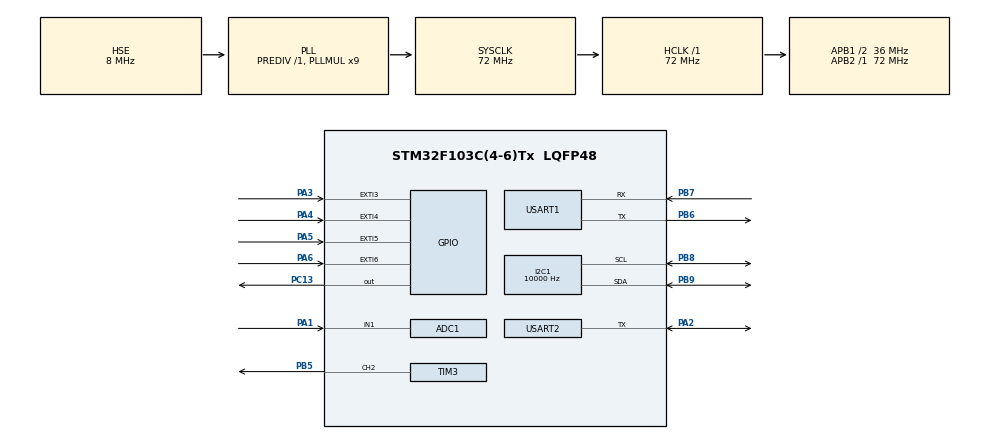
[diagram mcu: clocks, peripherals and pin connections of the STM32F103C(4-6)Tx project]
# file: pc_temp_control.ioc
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ADC1.Channel-8\#ChannelRegularConversion=ADC_CHANNEL_1
ADC1.NbrOfConversionFlag=1
ADC1.Rank-8\#ChannelRegularConversion=1
ADC1.SamplingTime-8\#ChannelRegularConversion=ADC_SAMPLETIME_1CYCLE_5
ADC1.master=1
I2C1.ClockSpeed=10000
Mcu.Family=STM32F1
Mcu.Name=STM32F103C(4-6)Tx
Mcu.Package=LQFP48
NVIC.EXTI3_IRQn=true\:0\:0\:false\:false\:true\:true\:true\:true
NVIC.EXTI4_IRQn=true\:0\:0\:false\:false\:true\:true\:true\:true
NVIC.EXTI9_5_IRQn=true\:0\:0\:false\:false\:true\:true\:true\:true
NVIC.PriorityGroup=NVIC_PRIORITYGROUP_4
NVIC.TIM2_IRQn=true\:0\:0\:false\:false\:true\:true\:true\:true
NVIC.USART2_IRQn=true\:0\:0\:false\:false\:true\:true\:true\:true
PA1.Signal=ADCx_IN1
PA13.Mode=Serial_Wire
PA13.Signal=SYS_JTMS-SWDIO
PA14.Mode=Serial_Wire
PA14.Signal=SYS_JTCK-SWCLK
PA2.Mode=Half_duplex(single_wire_mode)
PA2.Signal=USART2_TX
PA3.GPIO_ModeDefaultEXTI=GPIO_MODE_IT_FALLING
PA3.GPIO_PuPd=GPIO_PULLUP
PA3.Signal=GPXTI3
PA4.GPIO_ModeDefaultEXTI=GPIO_MODE_IT_FALLING
PA4.GPIO_PuPd=GPIO_PULLUP
PA4.Signal=GPXTI4
PA5.GPIO_ModeDefaultEXTI=GPIO_MODE_IT_FALLING
PA5.GPIO_PuPd=GPIO_PULLUP
PA5.Signal=GPXTI5
PA6.GPIO_ModeDefaultEXTI=GPIO_MODE_IT_FALLING
PA6.GPIO_PuPd=GPIO_PULLUP
PA6.Signal=GPXTI6
PB5.Signal=S_TIM3_CH2
PB6.Mode=Asynchronous
PB6.Signal=USART1_TX
PB7.Mode=Asynchronous
PB7.Signal=USART1_RX
PB8.Mode=I2C
PB8.Signal=I2C1_SCL
PB9.Mode=I2C
PB9.Signal=I2C1_SDA
PC13-TAMPER-RTC.GPIO_ModeDefaultOutputPP=GPIO_MODE_OUTPUT_OD
PC13-TAMPER-RTC.GPIO_PuPd=GPIO_NOPULL
PC13-TAMPER-RTC.PinState=GPIO_PIN_SET
PC13-TAMPER-RTC.Signal=GPIO_Output
PD0-OSC_IN.Mode=HSE-External-Oscillator
PD0-OSC_IN.Signal=RCC_OSC_IN
PD1-OSC_OUT.Mode=HSE-External-Oscillator
PD1-OSC_OUT.Signal=RCC_OSC_OUT
ProjectManager.HeapSize=0x200
ProjectManager.StackSize=0x400
ProjectManager.TargetToolchain=Makefile
RCC.ADCPresc=RCC_ADCPCLK2_DIV6
RCC.AHBFreq_Value=72000000
RCC.APB1CLKDivider=RCC_HCLK_DIV2
RCC.APB1Freq_Value=36000000
RCC.APB1TimFreq_Value=72000000
RCC.APB2Freq_Value=72000000
RCC.APB2TimFreq_Value=72000000
RCC.HCLKFreq_Value=72000000
RCC.PLLMUL=RCC_PLL_MUL9
RCC.PLLSourceVirtual=RCC_PLLSOURCE_HSE
RCC.SYSCLKFreq_VALUE=72000000
RCC.SYSCLKSource=RCC_SYSCLKSOURCE_PLLCLK
RCC.USBFreq_Value=72000000
SH.ADCx_IN1.0=ADC1_IN1,IN1
SH.S_TIM3_CH2.0=TIM3_CH2,PWM Generation2 CH2
TIM2.Period=9999
TIM2.Prescaler=7200
TIM3.Channel-PWM\ Generation2\ CH2=TIM_CHANNEL_2
TIM3.Period=256
USART1.VirtualMode=VM_ASYNC
USART2.VirtualMode=VM_ASYNC
VP_TIM2_VS_ClockSourceINT.Mode=Internal
board=custom

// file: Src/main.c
/* USER CODE BEGIN Header */
/**
  ******************************************************************************
  * @file           : main.c
  * @brief          : Main program body
  ******************************************************************************
  * @attention
  *
  * Copyright (c) 2024 STMicroelectronics.
  * All rights reserved.
  *
  * This software is licensed under terms that can be found in the LICENSE file
  * in the root directory of this software component.
  * If no LICENSE file comes with this software, it is provided AS-IS.
  *
  ******************************************************************************
  */
/* USER CODE END Header */
#include "main.h"
#include "adc.h"
#include "i2c.h"
#include "tim.h"
#include "usart.h"
#include "gpio.h"

/* USER CODE BEGIN Includes */
#include <stdio.h>
#include <math.h>
#include <stdlib.h>
#include <string.h>
#include <sys/types.h>
#include "OneWire.h"

/* USER CODE END Includes */

/* USER CODE BEGIN PD */
#define FTRIM(val, min, max) fmax(min, fmin(max, val))

/* USER CODE END PD */

/* USER CODE BEGIN PV */
extern float Temp[MAXDEVICES_ON_THE_BUS];
/* USER CODE END PV */

void SystemClock_Config(void);
/* USER CODE BEGIN PFP */

#ifdef __GNUC__
#define PUTCHAR_PROTOTYPE int __io_putchar(int ch)
#else
#define PUTCHAR_PROTOTYPE int fputc(int ch, FILE *f)
#endif
/**
  * @brief  Retargets the C library printf function to the USART.
  */
PUTCHAR_PROTOTYPE
{
  HAL_UART_Transmit(&huart1, (uint8_t *)&ch, 1, HAL_MAX_DELAY);
  return ch;
}

/* USER CODE END PFP */

/* USER CODE BEGIN 0 */

#define PIN_RS    (1 << 0)
#define PIN_EN    (1 << 2)
#define BACKLIGHT (1 << 3)

#define LCD_DELAY_MS 5

uint8_t lcd_addr = (0x27 << 1);

HAL_StatusTypeDef LCD_SendInternal(uint8_t data, uint8_t flags) {
  HAL_StatusTypeDef res;
  for(;;) {
    res = HAL_I2C_IsDeviceReady(&hi2c1, lcd_addr, 1,
                                HAL_MAX_DELAY);
    if(res == HAL_OK)
      break;
  }

  uint8_t up = data & 0xF0;
  uint8_t lo = (data << 4) & 0xF0;

  uint8_t data_arr[4];
  data_arr[0] = up|flags|BACKLIGHT|PIN_EN;
  data_arr[1] = up|flags|BACKLIGHT;
  data_arr[2] = lo|flags|BACKLIGHT|PIN_EN;
  data_arr[3] = lo|flags|BACKLIGHT;

  res = HAL_I2C_Master_Transmit(&hi2c1, lcd_addr, data_arr,
                                sizeof(data_arr), HAL_MAX_DELAY);
  HAL_Delay(LCD_DELAY_MS);
  return res;
}

void LCD_SendCommand(uint8_t cmd) {
  LCD_SendInternal(cmd, 0);
}

void LCD_SendData(uint8_t data) {
  LCD_SendInternal(data, PIN_RS);
}

void LCD_Init() {
  // 4-bit mode, 2 lines, 5x7 format
  LCD_SendCommand(0b00110000);
  // display & cursor home (keep this!)
  LCD_SendCommand(0b00000010);
  // display on, underline off, blink off
  LCD_SendCommand(0b00001100);
  // clear display (optional here)
  LCD_SendCommand(0b00000001);
}

void LCD_SendString(char *str) {
  while(*str) {
    LCD_SendData((uint8_t)(*str));
    str++;
  }
}

void LCD_SendTopString(char *str) {
  LCD_SendCommand(0x80 | 0x00);
  LCD_SendString(str);
}

void LCD_SendBottomString(char *str) {
  LCD_SendCommand(0x80 | 0x40);
  LCD_SendString(str);
}

void LCD_Clean()
{
  char *str = "                ";
  LCD_SendTopString(str);
  LCD_SendBottomString(str);
}

volatile uint8_t tacho_events1 = 0;
volatile uint8_t tacho_events2 = 0;
volatile uint8_t tacho_events3 = 0;
volatile uint8_t tacho_events4 = 0;

volatile uint8_t tacho_events_per_period1 = 0;
volatile uint8_t tacho_events_per_period2 = 0;
volatile uint8_t tacho_events_per_period3 = 0;
volatile uint8_t tacho_events_per_period4 = 0;

float temp1 = 0;
float temp2 = 0;
float temp3 = 0;

void update_temperature() {
  get_Temperature();
  temp1 = FTRIM(Temp[0], 0.0, 99.9),
  temp2 = FTRIM(Temp[1], 0.0, 99.9),
  temp3 = FTRIM(Temp[2], 0.0, 99.9);
  Temp[0] = 0; Temp[1] = 0; Temp[2] = 0;
}

void display_temperature() {
  char buffer[17];
  sprintf(buffer, "%04.1f %04.1f %04.1f\1C", temp1, temp2, temp3);
  LCD_SendTopString(buffer);
}

/* USER CODE END 0 */

int main(void)
{

  /* MCU Configuration--------------------------------------------------------*/

  /* Reset of all peripherals, Initializes the Flash interface and the Systick. */
  HAL_Init();

  /* Configure the system clock */
  SystemClock_Config();

  /* Initialize all configured peripherals */
  MX_GPIO_Init();
  MX_I2C1_Init();
  MX_USART1_UART_Init();
  MX_USART2_UART_Init();
  MX_ADC1_Init();
  MX_TIM3_Init();
  MX_TIM2_Init();
  /* USER CODE BEGIN 2 */

  HAL_TIM_Base_Start_IT(&htim2);

  LCD_Init();
  LCD_SendTopString   ("          RAM OK");
  LCD_SendBottomString("          ROM OK");

  get_ROMid();
  HAL_Delay(1000);

  // create a custom character (CGRAM 1, offset 8)
  LCD_SendCommand(0x40 + 8);
  LCD_SendData(0b00001100);
  LCD_SendData(0b00010010);
  LCD_SendData(0b00010010);
  LCD_SendData(0b00001100);
  LCD_SendData(0b00000000);
  LCD_SendData(0b00000000);
  LCD_SendData(0b00000000);
  LCD_SendData(0b00000000);
  LCD_SendData(0b00000000);
  LCD_Clean();

  /* USER CODE END 2 */

  /* Infinite loop */
  /* USER CODE BEGIN WHILE */
  while (1) {
    printf("Updating temp...\r\n");
    update_temperature();
    display_temperature();
    printf("%d %d %d %d\r\n", tacho_events_per_period1, tacho_events_per_period2, tacho_events_per_period3, tacho_events_per_period4);
    HAL_Delay(100);

    /* USER CODE END WHILE */

  }
}

void SystemClock_Config(void)
{
  RCC_OscInitTypeDef RCC_OscInitStruct = {0};
  RCC_ClkInitTypeDef RCC_ClkInitStruct = {0};
  RCC_PeriphCLKInitTypeDef PeriphClkInit = {0};

  /** Initializes the RCC Oscillators according to the specified parameters
  * in the RCC_OscInitTypeDef structure.
  */
  RCC_OscInitStruct.OscillatorType = RCC_OSCILLATORTYPE_HSE;
  RCC_OscInitStruct.HSEState = RCC_HSE_ON;
  RCC_OscInitStruct.HSEPredivValue = RCC_HSE_PREDIV_DIV1;
  RCC_OscInitStruct.HSIState = RCC_HSI_ON;
  RCC_OscInitStruct.PLL.PLLState = RCC_PLL_ON;
  RCC_OscInitStruct.PLL.PLLSource = RCC_PLLSOURCE_HSE;
  RCC_OscInitStruct.PLL.PLLMUL = RCC_PLL_MUL9;
  if (HAL_RCC_OscConfig(&RCC_OscInitStruct) != HAL_OK)
  {
    Error_Handler();
  }

  /** Initializes the CPU, AHB and APB buses clocks
  */
  RCC_ClkInitStruct.ClockType = RCC_CLOCKTYPE_HCLK|RCC_CLOCKTYPE_SYSCLK
                              |RCC_CLOCKTYPE_PCLK1|RCC_CLOCKTYPE_PCLK2;
  RCC_ClkInitStruct.SYSCLKSource = RCC_SYSCLKSOURCE_PLLCLK;
  RCC_ClkInitStruct.AHBCLKDivider = RCC_SYSCLK_DIV1;
  RCC_ClkInitStruct.APB1CLKDivider = RCC_HCLK_DIV2;
  RCC_ClkInitStruct.APB2CLKDivider = RCC_HCLK_DIV1;

  if (HAL_RCC_ClockConfig(&RCC_ClkInitStruct, FLASH_LATENCY_2) != HAL_OK)
  {
    Error_Handler();
  }
  PeriphClkInit.PeriphClockSelection = RCC_PERIPHCLK_ADC;
  PeriphClkInit.AdcClockSelection = RCC_ADCPCLK2_DIV6;
  if (HAL_RCCEx_PeriphCLKConfig(&PeriphClkInit) != HAL_OK)
  {
    Error_Handler();
  }
}

/* USER CODE BEGIN 4 */

void HAL_GPIO_EXTI_Callback(uint16_t GPIO_Pin)
{
  if(GPIO_Pin == GPIO_PIN_3) {
    tacho_events1++;
  } else if(GPIO_Pin == GPIO_PIN_4) {
    tacho_events2++;
  } else if(GPIO_Pin == GPIO_PIN_5) {
    tacho_events3++;
  } else if(GPIO_Pin == GPIO_PIN_6) {
    tacho_events4++;
  }
}

volatile uint16_t secs = 0;

void HAL_TIM_PeriodElapsedCallback(TIM_HandleTypeDef *htim)
{
  tacho_events_per_period1 = tacho_events1;
  tacho_events1 = 0;
  tacho_events_per_period2 = tacho_events2;
  tacho_events2 = 0;
  tacho_events_per_period3 = tacho_events3;
  tacho_events3 = 0;
  tacho_events_per_period4 = tacho_events4;
  tacho_events4 = 0;
}

/* USER CODE END 4 */

void Error_Handler(void)
{
  __disable_irq();
  while (1)
  {
  }
}
